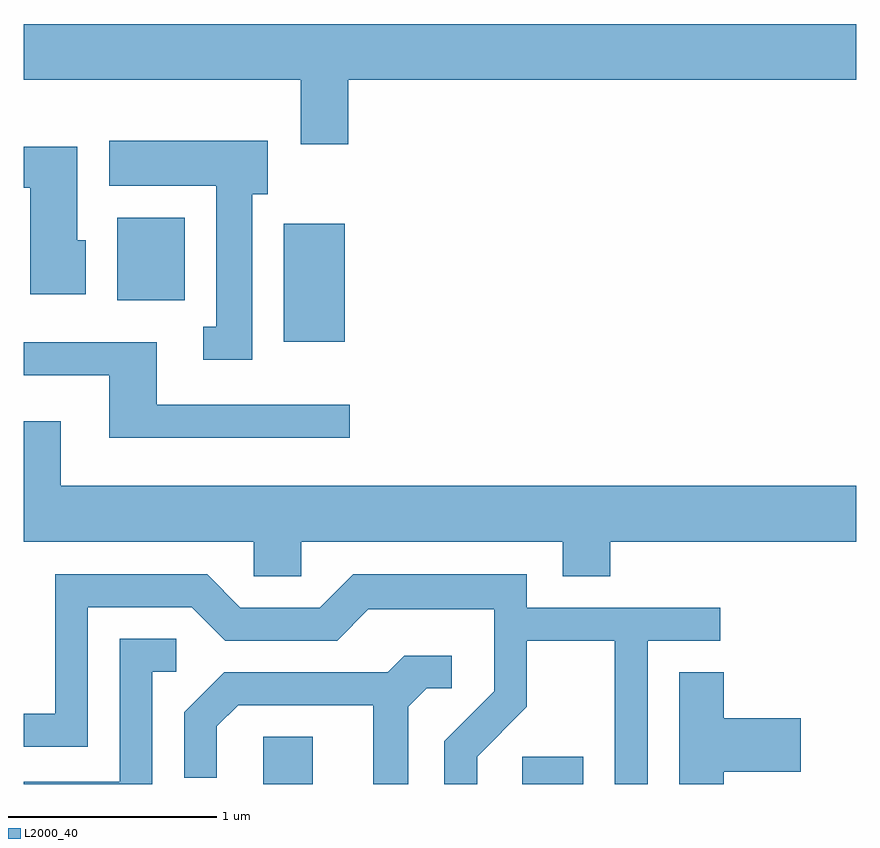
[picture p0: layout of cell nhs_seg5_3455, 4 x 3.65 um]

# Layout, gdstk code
import gdstk
lib = gdstk.Library(unit=1e-6, precision=1e-09)
def R(c, l, rs):  # rectangles x0, y0, x1, y1
    for r in rs: c.add(gdstk.rectangle(r[:2], r[2:], *l))
def P(c, l, *ps):  # polygons
    for p in ps: c.add(gdstk.Polygon(p, *l))
L2000_40 = (2000, 40)

nhs_seg5_3455 = lib.new_cell('nhs_seg5_3455')
R(nhs_seg5_3455, L2000_40, [(288.761,1460.072,288.999,1460.299), (290.006,1460.072,290.299,1460.204), (288.861,1462.196,289.154,1462.764), (288.061,1462.396,288.384,1462.794)])
P(nhs_seg5_3455, L2000_40, [(289.169,1463.456),(291.611,1463.456),(291.611,1463.724),(287.611,1463.724),(287.611,1463.456),(288.941,1463.456),(288.941,1463.146),(289.169,1463.146)],
  [(288.709,1462.906),(288.784,1462.906),(288.784,1463.164),(288.021,1463.164),(288.021,1462.946),(288.536,1462.946),(288.536,1462.269),(288.473,1462.269),(288.473,1462.111),(288.709,1462.111)],
  [(287.909,1462.684),(287.869,1462.684),(287.869,1463.134),(287.611,1463.134),(287.611,1462.936),(287.641,1462.936),(287.641,1462.426),(287.909,1462.426)],
  [(289.178,1461.894),(288.249,1461.894),(288.249,1462.194),(287.611,1462.194),(287.611,1462.036),(288.021,1462.036),(288.021,1461.736),(289.178,1461.736)],
  [(288.944,1461.236),(290.201,1461.236),(290.201,1461.071),(290.429,1461.071),(290.429,1461.236),(291.611,1461.236),(291.611,1461.504),(287.789,1461.504),(287.789,1461.814),(287.611,1461.814),(287.611,1461.236),(288.716,1461.236),(288.716,1461.071),(288.944,1461.071)],
  [(289.789,1460.204),(290.029,1460.444),(290.029,1460.761),(290.451,1460.761),(290.451,1460.072),(290.609,1460.072),(290.609,1460.761),(290.958,1460.761),(290.958,1460.919),(290.029,1460.919),(290.029,1461.079),(289.194,1461.079),(289.034,1460.919),(288.652,1460.919),(288.492,1461.079),(287.761,1461.079),(287.761,1460.409),(287.611,1460.409),(287.611,1460.251),(287.919,1460.251),(287.919,1460.921),(288.419,1460.921),(288.579,1460.761),(289.117,1460.761),(289.267,1460.911),(289.871,1460.911),(289.871,1460.517),(289.631,1460.277),(289.631,1460.072),(289.789,1460.072)],
  [(288.229,1460.611),(288.343,1460.611),(288.343,1460.769),(288.071,1460.769),(288.071,1460.084),(287.611,1460.084),(287.611,1460.072),(288.229,1460.072)],
  [(289.459,1460.444),(289.547,1460.531),(289.668,1460.531),(289.668,1460.689),(289.439,1460.689),(289.359,1460.609),(288.574,1460.609),(288.381,1460.417),(288.381,1460.103),(288.539,1460.103),(288.539,1460.349),(288.642,1460.451),(289.291,1460.451),(289.291,1460.072),(289.459,1460.072)],
  [(290.974,1460.131),(291.344,1460.131),(291.344,1460.389),(290.974,1460.389),(290.974,1460.609),(290.761,1460.609),(290.761,1460.072),(290.974,1460.072)])

lib.write_gds('nhs_seg5_3455.gds')
